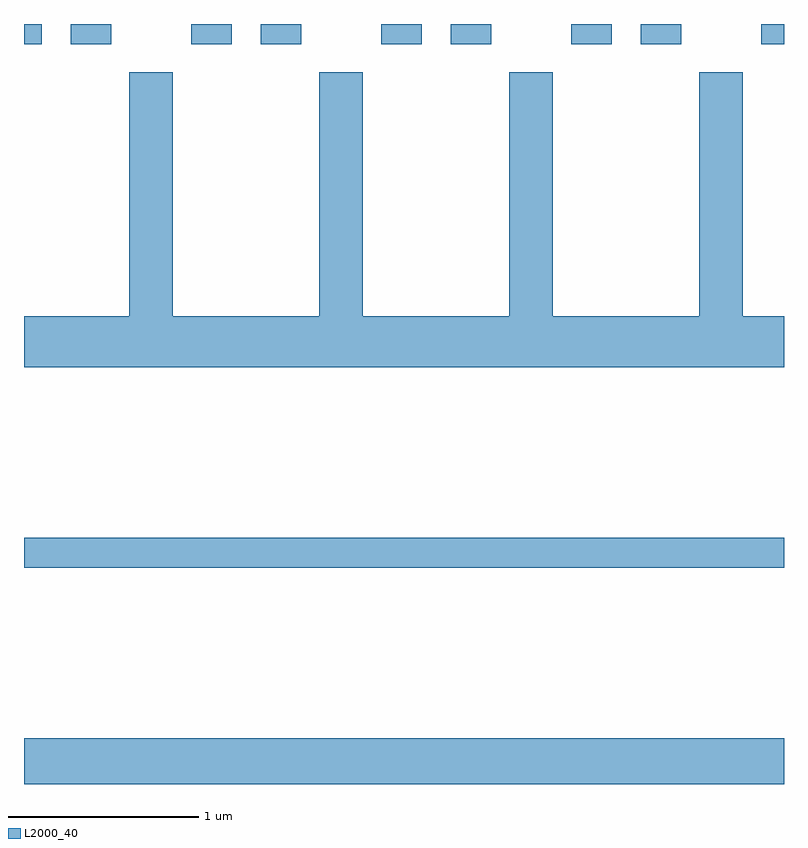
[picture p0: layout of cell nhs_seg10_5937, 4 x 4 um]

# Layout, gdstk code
import gdstk
lib = gdstk.Library(unit=1e-6, precision=1e-09)
def R(c, l, rs):  # rectangles x0, y0, x1, y1
    for r in rs: c.add(gdstk.rectangle(r[:2], r[2:], *l))
def P(c, l, *ps):  # polygons
    for p in ps: c.add(gdstk.Polygon(p, *l))
L2000_40 = (2000, 40)

nhs_seg10_5937 = lib.new_cell('nhs_seg10_5937')
R(nhs_seg10_5937, L2000_40, [(359.611,2200.522,363.611,2200.764), (359.611,2201.661,363.611,2201.819), (359.611,2204.416,359.704,2204.522), (359.856,2204.416,360.069,2204.522), (360.491,2204.416,360.704,2204.522), (360.856,2204.416,361.069,2204.522), (361.491,2204.416,361.704,2204.522), (361.856,2204.416,362.069,2204.522), (362.491,2204.416,362.704,2204.522), (362.856,2204.416,363.069,2204.522), (363.491,2204.416,363.611,2204.522)])
P(nhs_seg10_5937, L2000_40, [(363.611,2202.984),(363.394,2202.984),(363.394,2204.269),(363.166,2204.269),(363.166,2202.984),(362.394,2202.984),(362.394,2204.269),(362.166,2204.269),(362.166,2202.984),(361.394,2202.984),(361.394,2204.269),(361.166,2204.269),(361.166,2202.984),(360.394,2202.984),(360.394,2204.269),(360.166,2204.269),(360.166,2202.984),(359.611,2202.984),(359.611,2202.716),(363.611,2202.716)])

lib.write_gds('nhs_seg10_5937.gds')
